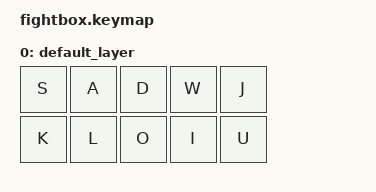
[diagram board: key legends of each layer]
#include <behaviors.dtsi>
#include <dt-bindings/zmk/keys.h>

/ {
    keymap {
        compatible = "zmk,keymap";

        default_layer {
            bindings = <
                &kp S &kp A &kp D &kp W &kp J
                &kp K &kp L &kp O &kp I &kp U
            >;
        };
    };
};
